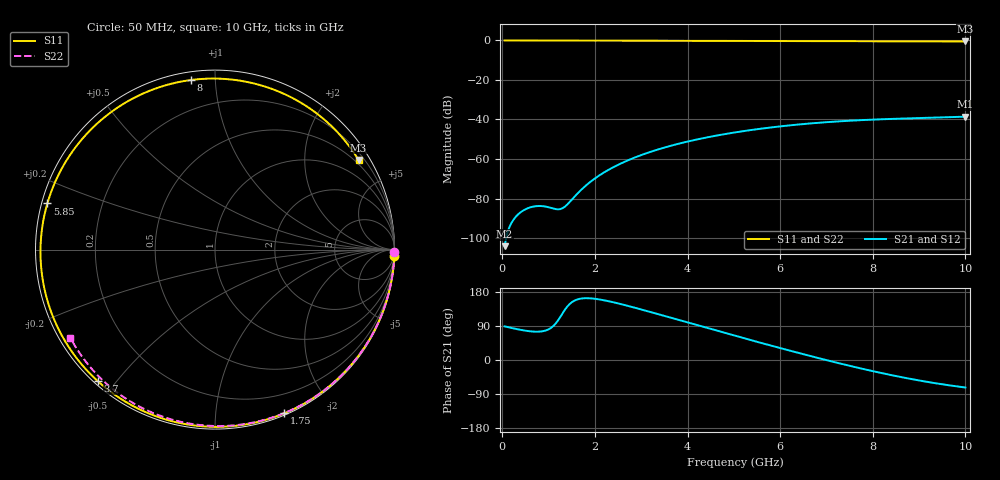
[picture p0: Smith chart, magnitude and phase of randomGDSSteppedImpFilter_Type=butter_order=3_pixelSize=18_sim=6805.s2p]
! freq	dB(S11)	phase(S11)	dB(S12)	phase(S12)
!  dB(S21)	phase(S21)	dB(S22)	phase(S22)
!S-par simulation data
#  GHz  S  DB  R 50
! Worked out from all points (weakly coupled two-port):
!   200 points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, 50 MHz to 10 GHz, reference 50 ohm
!   highest |S21| = -38.57 dB at 10 GHz (marker M1); lowest = -104.1 dB at 50 MHz (marker M2)
!   lowest |S11| = -0.5 dB at 10 GHz (marker M3), VSWR 33.91, Z = 19.3 + j173 ohm
!   |S11| at or under -10 dB: nowhere
!   |S22| runs from -0.5 to 0.0 dB; largest |S21 - S12| = 0
!   S11 on the Smith chart (normalised r, x): 50 MHz: 0, -57; 1.75 GHz: 0.02, -1.51; 3.7 GHz: 0.01, -0.45; 5.85 GHz: 0.02, +0.14; 8 GHz: 0.04, +0.87; 10 GHz: 0.39, +3.45
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0.05  -0.00 -2.0  -104.11 88.8  -104.11 88.8  -0.00 -0.9
0.35  -0.02 -13.9  -87.84 80.6  -87.84 80.6  -0.01 -6.0
0.7  -0.04 -27.6  -83.96 74.8  -83.96 74.8  -0.02 -11.9
1.1  -0.06 -43.0  -85.06 89.5  -85.06 89.5  -0.02 -18.7
1.5  -0.07 -58.0  -80.60 152.3  -80.60 152.3  -0.03 -25.4
1.75  -0.08 -67.1  -74.58 162.8  -74.58 162.8  -0.04 -29.5
2.05  -0.09 -77.7  -69.02 160.7  -69.02 160.7  -0.04 -34.5
2.45  -0.11 -91.5  -63.53 150.8  -63.53 150.8  -0.05 -41.0
2.9  -0.13 -106.4  -58.89 136.7  -58.89 136.7  -0.06 -48.2
3.4  -0.15 -122.4  -54.90 119.8  -54.90 119.8  -0.07 -56.1
3.7  -0.16 -131.6  -52.92 109.5  -52.92 109.5  -0.08 -60.8
4.4  -0.19 -152.7  -49.15 85.3  -49.15 85.3  -0.10 -71.4
5.05  -0.23 -171.9  -46.45 63.1  -46.45 63.1  -0.12 -81.1
5.85  -0.28 164.6  -43.89 36.4  -43.89 36.4  -0.16 -92.6
6.25  -0.30 152.7  -42.87 23.4  -42.87 23.4  -0.18 -98.2
6.7  -0.33 139.1  -41.90 9.0  -41.90 9.0  -0.20 -104.4
7.4  -0.37 117.3  -40.76 -12.4  -40.76 -12.4  -0.25 -113.9
8  -0.41 98.1  -40.06 -29.4  -40.06 -29.4  -0.30 -122.0
8.35  -0.42 86.6  -39.75 -38.6  -39.75 -38.6  -0.33 -126.6
8.75  -0.44 73.4  -39.45 -48.4  -39.45 -48.4  -0.36 -131.9
9.15  -0.46 60.0  -39.19 -57.2  -39.19 -57.2  -0.40 -137.2
10  -0.51 31.9  -38.57 -72.6  -38.57 -72.6  -0.50 -148.6
